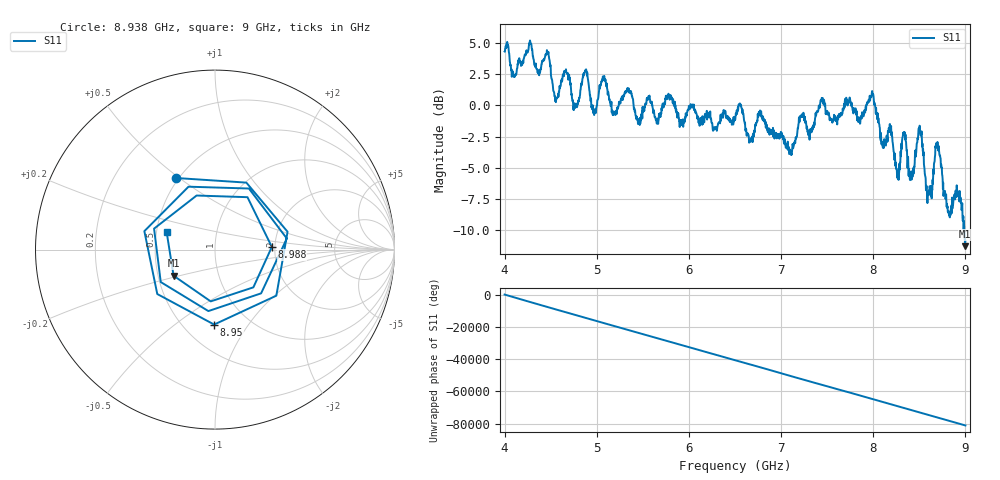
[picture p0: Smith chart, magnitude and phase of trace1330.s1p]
! Created with skrf 1.8.0 (http://scikit-rf.org).
# Hz S RI R 50.0
!freq ReS11 ImS11
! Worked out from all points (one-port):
!   1601 points, 4 GHz to 9 GHz, reference 50 ohm
!   lowest |S11| = -11.3 dB at 8.997 GHz (marker M1), VSWR 1.75, Z = 30.1 - j9.47 ohm
!   |S11| at or under -10 dB: 8.988139 GHz to end of sweep
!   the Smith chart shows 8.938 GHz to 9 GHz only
!   S11 on the Smith chart (normalised r, x): 8.938 GHz: 0.48, +0.49; 8.95 GHz: 0.70, -0.71; 8.988 GHz: 1.93, +0.06; 9 GHz: 0.57, +0.12
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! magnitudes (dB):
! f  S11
! 4 GHz  4.3
! 4.466 GHz  4.1
! 4.559 GHz  0.4
! 4.625 GHz  2.0
! 4.769 GHz  -0.1
! 4.875 GHz  2.8
! 4.966 GHz  -0.5
! 5.072 GHz  2.3
! 5.25 GHz  0.2
! 5.875 GHz  -1.0
! 6.5 GHz  -1.1
! 7.125 GHz  -3.1
! 7.219 GHz  -0.9
! 7.75 GHz  0.5
! 7.988 GHz  1.1
! 8.262 GHz  -5.6
! 8.331 GHz  -2.2
! 8.375 GHz  -4.6
! 8.422 GHz  -5.4
! 8.503 GHz  -1.6
! 8.597 GHz  -7.2
! 8.7 GHz  -3.2
! 8.819 GHz  -8.5
! 8.938 GHz  -6.9
! 8.95 GHz  -7.6
! 8.988 GHz  -10.0
! 8.997 GHz  -11.3
! 9 GHz  -10.9
